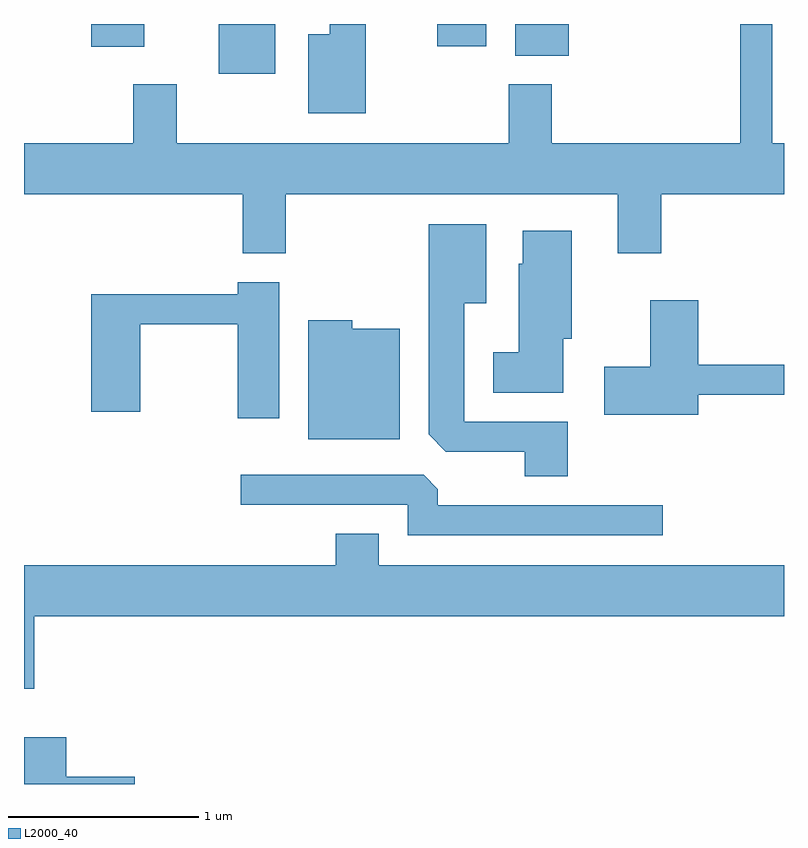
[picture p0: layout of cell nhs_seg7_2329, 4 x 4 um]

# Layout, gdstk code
import gdstk
lib = gdstk.Library(unit=1e-6, precision=1e-09)
def R(c, l, rs):  # rectangles x0, y0, x1, y1
    for r in rs: c.add(gdstk.rectangle(r[:2], r[2:], *l))
def P(c, l, *ps):  # polygons
    for p in ps: c.add(gdstk.Polygon(p, *l))
L2000_40 = (2000, 40)

nhs_seg7_2329 = lib.new_cell('nhs_seg7_2329')
R(nhs_seg7_2329, L2000_40, [(256.636,1785.991,256.934,1786.252), (258.196,1786.086,258.479,1786.252), (255.966,1786.131,256.244,1786.252), (257.786,1786.136,258.044,1786.252)])
P(nhs_seg7_2329, L2000_40, [(258.736,1785.046),(258.964,1785.046),(258.964,1785.356),(259.611,1785.356),(259.611,1785.624),(259.549,1785.624),(259.549,1786.252),(259.381,1786.252),(259.381,1785.624),(258.389,1785.624),(258.389,1785.934),(258.161,1785.934),(258.161,1785.624),(256.414,1785.624),(256.414,1785.934),(256.186,1785.934),(256.186,1785.624),(255.611,1785.624),(255.611,1785.356),(256.761,1785.356),(256.761,1785.046),(256.989,1785.046),(256.989,1785.356),(258.736,1785.356)],
  [(257.409,1786.252),(257.221,1786.252),(257.221,1786.199),(257.106,1786.199),(257.106,1785.781),(257.409,1785.781)],
  [(258.474,1784.159),(257.929,1784.159),(257.929,1784.781),(258.044,1784.781),(258.044,1785.199),(257.741,1785.199),(257.741,1784.092),(257.832,1784.001),(258.246,1784.001),(258.246,1783.871),(258.474,1783.871)],
  [(258.449,1784.596),(258.494,1784.596),(258.494,1785.164),(258.236,1785.164),(258.236,1784.989),(258.216,1784.989),(258.216,1784.524),(258.081,1784.524),(258.081,1784.311),(258.449,1784.311)],
  [(256.954,1784.894),(256.736,1784.894),(256.736,1784.829),(255.966,1784.829),(255.966,1784.211),(256.224,1784.211),(256.224,1784.671),(256.736,1784.671),(256.736,1784.176),(256.954,1784.176)],
  [(259.159,1784.301),(259.611,1784.301),(259.611,1784.459),(259.159,1784.459),(259.159,1784.799),(258.906,1784.799),(258.906,1784.449),(258.666,1784.449),(258.666,1784.196),(259.159,1784.196)],
  [(257.589,1784.649),(257.339,1784.649),(257.339,1784.694),(257.106,1784.694),(257.106,1784.066),(257.589,1784.066)],
  [(258.973,1783.719),(257.789,1783.719),(257.789,1783.804),(257.714,1783.879),(256.753,1783.879),(256.753,1783.721),(257.631,1783.721),(257.631,1783.561),(258.973,1783.561)],
  [(255.664,1783.136),(259.611,1783.136),(259.611,1783.404),(257.479,1783.404),(257.479,1783.569),(257.251,1783.569),(257.251,1783.404),(255.611,1783.404),(255.611,1782.753),(255.664,1782.753)],
  [(256.194,1782.289),(255.834,1782.289),(255.834,1782.499),(255.611,1782.499),(255.611,1782.252),(256.194,1782.252)])

lib.write_gds('nhs_seg7_2329.gds')
